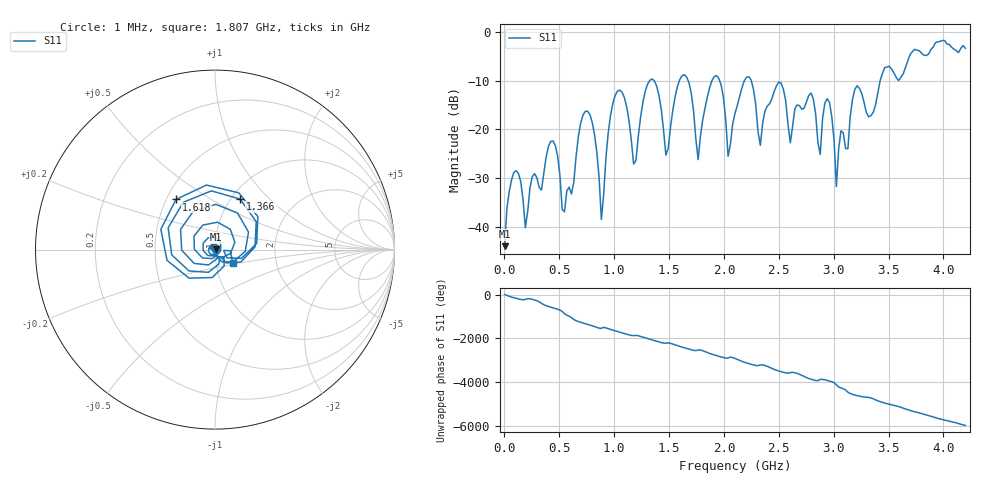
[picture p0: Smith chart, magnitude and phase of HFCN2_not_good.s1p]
# MHz S MA R 50
!  freq  S11
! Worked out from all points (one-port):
!   201 points, 1 MHz to 4.2 GHz, reference 50 ohm
!   lowest |S11| = -44.0 dB at 1 MHz (marker M1), VSWR 1.01, Z = 50.6 + j0.0744 ohm
!   |S11| at or under -10 dB: start of sweep to 1.323 GHz; 1.363 GHz to 1.594 GHz (231.4 MHz wide, 15.7 % of centre); 2.249 GHz to 3.423 GHz (1.175 GHz wide, 41.4 % of centre)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
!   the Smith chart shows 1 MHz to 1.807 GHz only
!   S11 on the Smith chart (normalised r, x): 1 MHz: 1.01, +0.00; 1.366 GHz: 1.10, +0.69; 1.618 GHz: 0.56, +0.36; 1.807 GHz: 1.21, -0.19
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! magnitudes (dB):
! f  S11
! 1 MHz  -44.0
! 84.98 MHz  -28.9
! 190 MHz  -40.2
! 420.9 MHz  -22.5
! 525.9 MHz  -36.5
! 756.8 MHz  -16.3
! 882.8 MHz  -38.5
! 1.051 GHz  -12.0
! 1.177 GHz  -27.2
! 1.366 GHz  -10.1
! 1.471 GHz  -25.3
! 1.576 GHz  -11.3
! 1.618 GHz  -9.0
! 1.765 GHz  -26.2
! 1.807 GHz  -18.0
! 1.954 GHz  -9.6
! 2.038 GHz  -25.5
! 2.1 GHz  -16.8
! 2.331 GHz  -23.3
! 2.499 GHz  -10.3
! 2.625 GHz  -19.4
! 2.793 GHz  -12.6
! 2.877 GHz  -25.2
! 2.94 GHz  -13.7
! 3.024 GHz  -31.8
! 3.15 GHz  -17.4
! 3.675 GHz  -6.0
! 4.2 GHz  -3.4
